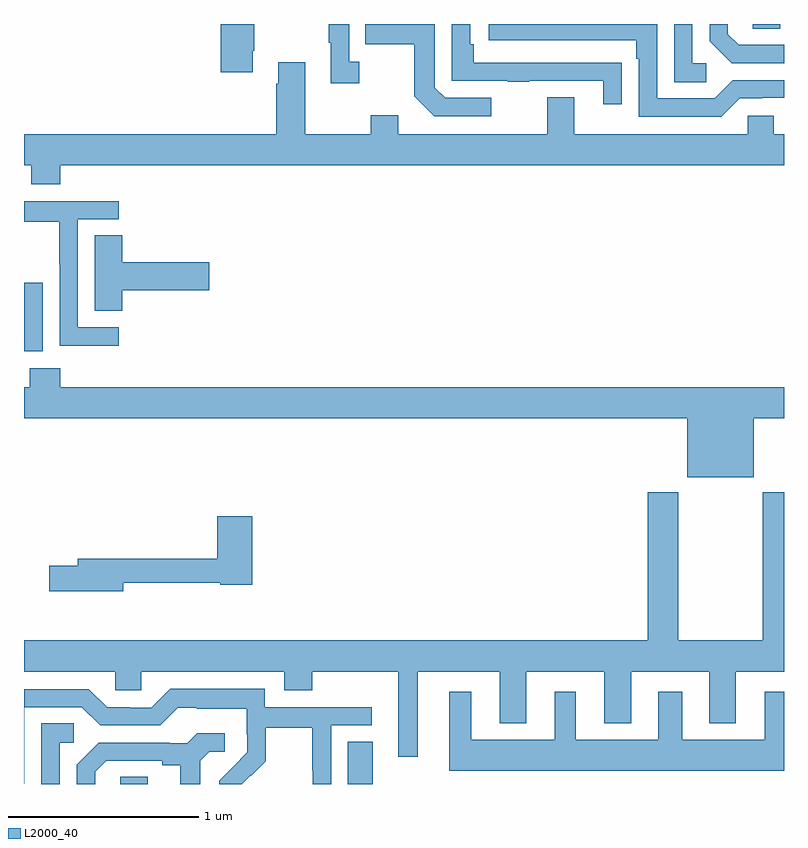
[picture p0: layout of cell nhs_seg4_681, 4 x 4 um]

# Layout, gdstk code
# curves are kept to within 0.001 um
import gdstk
lib = gdstk.Library(unit=1e-6, precision=1e-09)
def R(c, l, rs):  # rectangles x0, y0, x1, y1
    for r in rs: c.add(gdstk.rectangle(r[:2], r[2:], *l))
def P(c, l, *ps):  # polygons
    for p in ps: c.add(gdstk.Polygon(p, *l))
L2000_40 = (2000, 40)

nhs_seg4_681 = lib.new_cell('nhs_seg4_681')
R(nhs_seg4_681, L2000_40, [(145.506,790.9,145.651,790.937), (146.705,790.9,146.836,791.123), (145,793.178,145.099,793.539), (148.836,794.875,148.981,794.9)])
P(nhs_seg4_681, L2000_40, [(148.145,794.696),(148.043,794.696),(148.043,794.697),(147.368,794.697),(147.368,794.794),(147.348,794.794),(147.348,794.9),(147.252,794.9),(147.252,794.601),(147.547,794.601),(147.547,794.596),(147.659,794.596),(147.659,794.601),(148.049,794.601),(148.049,794.478),(148.145,794.478)],
  [(146.764,794.702),(146.712,794.702),(146.712,794.9),(146.604,794.9),(146.604,794.801),(146.615,794.801),(146.615,794.589),(146.764,794.589)],
  [(147.46,794.511),(147.216,794.511),(147.162,794.565),(147.162,794.9),(146.797,794.9),(146.797,794.794),(147.054,794.794),(147.054,794.521),(147.159,794.415),(147.46,794.415)],
  [(149,794.79),(148.762,794.79),(148.705,794.847),(148.705,794.9),(148.608,794.9),(148.608,794.81),(148.724,794.694),(149,794.694)],
  [(148.767,794.508),(148.886,794.508),(148.886,794.511),(149,794.511),(149,794.604),(148.731,794.604),(148.635,794.508),(148.332,794.508),(148.332,794.9),(147.447,794.9),(147.447,794.814),(148.223,794.814),(148.223,794.717),(148.236,794.717),(148.236,794.412),(148.671,794.412)],
  [(146.203,794.758),(146.211,794.758),(146.211,794.9),(146.036,794.9),(146.036,794.646),(146.203,794.646)],
  [(148.591,794.694),(148.518,794.694),(148.518,794.9),(148.422,794.9),(148.422,794.593),(148.591,794.593)],
  [(145.19,794.156),(149,794.156),(149,794.32),(148.947,794.32),(148.947,794.418),(148.809,794.418),(148.809,794.32),(147.895,794.32),(147.895,794.515),(147.755,794.515),(147.755,794.32),(146.971,794.32),(146.971,794.419),(146.824,794.419),(146.824,794.32),(146.479,794.32),(146.479,794.698),(146.339,794.698),(146.339,794.585),(146.327,794.585),(146.327,794.32),(145,794.32),(145,794.156),(145.037,794.156),(145.037,794.057),(145.19,794.057)],
  [(145.498,793.305),(145.284,793.305),(145.284,793.872),(145.498,793.872),(145.498,793.968),(145,793.968),(145,793.86),(145.186,793.86),(145.186,793.636),(145.188,793.636),(145.188,793.207),(145.498,793.207)],
  [(145.517,793.499),(145.975,793.499),(145.975,793.646),(145.517,793.646),(145.517,793.787),(145.373,793.787),(145.373,793.39),(145.517,793.39)],
  [(148.84,792.824),(149,792.824),(149,792.988),(145.19,792.988),(145.19,793.087),(145.03,793.087),(145.03,792.988),(145,792.988),(145,792.824),(148.49,792.824),(148.49,792.515),(148.84,792.515)],
  [(147.073,791.492),(147.503,791.492),(147.503,791.219),(147.643,791.219),(147.643,791.492),(148.055,791.492),(148.055,791.219),(148.195,791.219),(148.195,791.492),(148.607,791.492),(148.607,791.219),(148.747,791.219),(148.747,791.492),(149,791.492),(149,792.436),(148.888,792.436),(148.888,791.656),(148.443,791.656),(148.443,792.436),(148.283,792.436),(148.283,791.656),(145,791.656),(145,791.492),(145.479,791.492),(145.479,791.394),(145.617,791.394),(145.617,791.492),(146.369,791.492),(146.369,791.393),(146.517,791.393),(146.517,791.492),(146.969,791.492),(146.969,791.043),(147.073,791.043)],
  [(145.522,791.958),(146.034,791.958),(146.034,791.95),(146.201,791.95),(146.201,792.31),(146.018,792.31),(146.018,792.086),(145.283,792.086),(145.283,792.05),(145.134,792.05),(145.134,791.915),(145.522,791.915)],
  [(146.193,790.947),(146.196,790.944),(146.273,791.021),(146.273,791.196),(146.518,791.196),(146.518,790.972),(146.52,790.972),(146.52,790.9),(146.616,790.9),(146.616,791.208),(146.83,791.208),(146.83,791.304),(146.268,791.304),(146.268,791.401),(145.771,791.401),(145.671,791.301),(145.556,791.301),(145.556,791.304),(145.437,791.304),(145.341,791.4),(145,791.4),(145,790.902),(145.002,790.902),(145.002,791.304),(145.305,791.304),(145.401,791.208),(145.716,791.208),(145.809,791.301),(145.909,791.301),(145.909,791.297),(146.172,791.297),(146.172,791.163),(146.174,791.163),(146.174,791.066),(146.028,790.918),(146.028,790.9),(146.146,790.9)],
  [(149,791.386),(148.898,791.386),(148.898,791.134),(148.465,791.134),(148.465,791.386),(148.337,791.386),(148.337,791.134),(147.904,791.134),(147.904,791.386),(147.794,791.386),(147.794,791.134),(147.355,791.134),(147.355,791.386),(147.239,791.386),(147.239,790.97),(149,790.97)],
  [(145.188,791.118),(145.261,791.118),(145.261,791.219),(145.092,791.219),(145.092,790.9),(145.188,790.9)],
  [(145.375,790.965),(145.432,791.022),(145.727,791.022),(145.727,791),(145.823,791),(145.823,790.9),(145.927,790.9),(145.927,791.023),(145.974,791.07),(146.056,791.07),(146.056,791.167),(145.912,791.167),(145.86,791.115),(145.766,791.115),(145.766,791.118),(145.394,791.118),(145.278,791.002),(145.278,790.9),(145.375,790.9)])

lib.write_gds('nhs_seg4_681.gds')
